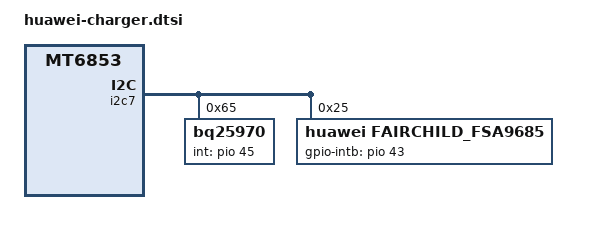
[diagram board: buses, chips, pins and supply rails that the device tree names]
#include "../huawei_charger/mt6853_chl_40w_huawei_charger.dtsi"

&charger {
	bc12_charger = <22>; /* usb switch do bc12 */
};

&pio {
	bq25970_irq_pins_default: bq25970_irq_pins_default {
		pins_cmd_dat {
			pinmux = <PINMUX_GPIO45__FUNC_GPIO45>;
			slew-rate = <0>;
			bias-pull-up;
		};
	};
	fsa9685_irq_pins_default: fsa9685_irq_pins_default {
		pins_cmd_dat {
			pinmux = <PINMUX_GPIO43__FUNC_GPIO43>;
			slew-rate = <0>;
			bias-pull-up;
		};
	};
};

&i2c7 {
		bq25970@65 {
			compatible = "bq25970";
			pinctrl-names = "default";
			pinctrl-0 = <&bq25970_irq_pins_default>;
			gpio_int = <&pio 45 0x0>;
			switching_frequency = <675>;
			sense_r_config = <20>;
			sense_r_actual = <20>;
			reg = <0x65>;
			status = "ok";
		};
		fairchild_fsa9685@25 {
			compatible = "huawei,fairchild_fsa9685";
			reg = <0x25>;
			pinctrl-names = "default";
			pinctrl-0 = <&fsa9685_irq_pins_default>;
			fairchild_fsa9685,gpio-intb = <&pio 43 0x0>;
			fcp_support = <1>;
			scp_support = <1>;
			power_by_5v = <1>;
			close_bc12 = <1>;
			/* for rt8979 */
			interrupt-names = "vbus_change", "device_change", "detach",
					  "attach";
			/* auto_switch; */
			scp;
			dcd;
			dcd_timeout = <600>;  /* ms */
			intb_watchdog = <1000>;  /* ms */
			ovp_sel = <14500000>;  /* uV */
			status = "ok";
		};
};
